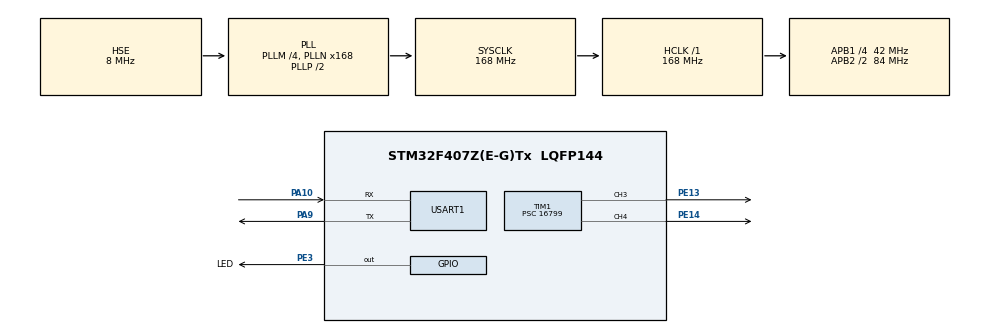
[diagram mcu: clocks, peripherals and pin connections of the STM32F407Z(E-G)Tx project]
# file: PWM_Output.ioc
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Dma.Request0=USART1_RX
Dma.Request1=USART1_TX
Dma.Request2=TIM1_CH3
Dma.Request3=TIM1_CH4/TRIG/COM
Dma.TIM1_CH3.2.Direction=DMA_PERIPH_TO_MEMORY
Dma.TIM1_CH3.2.FIFOMode=DMA_FIFOMODE_DISABLE
Dma.TIM1_CH3.2.Instance=DMA2_Stream6
Dma.TIM1_CH3.2.MemDataAlignment=DMA_MDATAALIGN_HALFWORD
Dma.TIM1_CH3.2.MemInc=DMA_MINC_ENABLE
Dma.TIM1_CH3.2.Mode=DMA_NORMAL
Dma.TIM1_CH3.2.PeriphDataAlignment=DMA_PDATAALIGN_HALFWORD
Dma.TIM1_CH3.2.PeriphInc=DMA_PINC_DISABLE
Dma.TIM1_CH3.2.Priority=DMA_PRIORITY_LOW
Dma.TIM1_CH4/TRIG/COM.3.Direction=DMA_PERIPH_TO_MEMORY
Dma.TIM1_CH4/TRIG/COM.3.FIFOMode=DMA_FIFOMODE_DISABLE
Dma.TIM1_CH4/TRIG/COM.3.Instance=DMA2_Stream4
Dma.TIM1_CH4/TRIG/COM.3.MemDataAlignment=DMA_MDATAALIGN_HALFWORD
Dma.TIM1_CH4/TRIG/COM.3.MemInc=DMA_MINC_ENABLE
Dma.TIM1_CH4/TRIG/COM.3.Mode=DMA_NORMAL
Dma.TIM1_CH4/TRIG/COM.3.PeriphDataAlignment=DMA_PDATAALIGN_HALFWORD
Dma.TIM1_CH4/TRIG/COM.3.PeriphInc=DMA_PINC_DISABLE
Dma.TIM1_CH4/TRIG/COM.3.Priority=DMA_PRIORITY_LOW
Dma.USART1_RX.0.Direction=DMA_PERIPH_TO_MEMORY
Dma.USART1_RX.0.FIFOMode=DMA_FIFOMODE_DISABLE
Dma.USART1_RX.0.Instance=DMA2_Stream5
Dma.USART1_RX.0.MemDataAlignment=DMA_MDATAALIGN_BYTE
Dma.USART1_RX.0.MemInc=DMA_MINC_ENABLE
Dma.USART1_RX.0.Mode=DMA_CIRCULAR
Dma.USART1_RX.0.PeriphDataAlignment=DMA_PDATAALIGN_BYTE
Dma.USART1_RX.0.PeriphInc=DMA_PINC_DISABLE
Dma.USART1_RX.0.Priority=DMA_PRIORITY_LOW
Dma.USART1_TX.1.Direction=DMA_MEMORY_TO_PERIPH
Dma.USART1_TX.1.FIFOMode=DMA_FIFOMODE_DISABLE
Dma.USART1_TX.1.Instance=DMA2_Stream7
Dma.USART1_TX.1.MemDataAlignment=DMA_MDATAALIGN_BYTE
Dma.USART1_TX.1.MemInc=DMA_MINC_ENABLE
Dma.USART1_TX.1.Mode=DMA_CIRCULAR
Dma.USART1_TX.1.PeriphDataAlignment=DMA_PDATAALIGN_BYTE
Dma.USART1_TX.1.PeriphInc=DMA_PINC_DISABLE
Dma.USART1_TX.1.Priority=DMA_PRIORITY_LOW
Mcu.Family=STM32F4
Mcu.Name=STM32F407Z(E-G)Tx
Mcu.Package=LQFP144
NVIC.DMA2_Stream4_IRQn=true\:0\:0\:false\:false\:true\:false\:true
NVIC.DMA2_Stream5_IRQn=true\:0\:0\:false\:false\:true\:false\:true
NVIC.DMA2_Stream6_IRQn=true\:0\:0\:false\:false\:true\:false\:true
NVIC.DMA2_Stream7_IRQn=true\:0\:0\:false\:false\:true\:false\:true
NVIC.PriorityGroup=NVIC_PRIORITYGROUP_4
NVIC.USART1_IRQn=true\:0\:0\:false\:false\:true\:true\:true
PA10.Mode=Asynchronous
PA10.Signal=USART1_RX
PA9.Mode=Asynchronous
PA9.Signal=USART1_TX
PE13.GPIO_Speed=GPIO_SPEED_FREQ_VERY_HIGH
PE13.Signal=S_TIM1_CH3
PE14.Signal=S_TIM1_CH4
PE3.GPIO_Label=LED
PE3.PinState=GPIO_PIN_SET
PE3.Signal=GPIO_Output
PH0-OSC_IN.Mode=HSE-External-Oscillator
PH0-OSC_IN.Signal=RCC_OSC_IN
PH1-OSC_OUT.Mode=HSE-External-Oscillator
PH1-OSC_OUT.Signal=RCC_OSC_OUT
ProjectManager.HeapSize=0x200
ProjectManager.StackSize=0x400
ProjectManager.TargetToolchain=MDK-ARM V5.27
RCC.48MHZClocksFreq_Value=84000000
RCC.AHBFreq_Value=168000000
RCC.APB1CLKDivider=RCC_HCLK_DIV4
RCC.APB1Freq_Value=42000000
RCC.APB1TimFreq_Value=84000000
RCC.APB2CLKDivider=RCC_HCLK_DIV2
RCC.APB2Freq_Value=84000000
RCC.APB2TimFreq_Value=168000000
RCC.CortexFreq_Value=168000000
RCC.HCLKFreq_Value=168000000
RCC.HSE_VALUE=8000000
RCC.HSI_VALUE=16000000
RCC.LSE_VALUE=32768
RCC.PLLM=4
RCC.PLLN=168
RCC.PLLSourceVirtual=RCC_PLLSOURCE_HSE
RCC.SYSCLKFreq_VALUE=168000000
RCC.SYSCLKSource=RCC_SYSCLKSOURCE_PLLCLK
RCC.VCOOutputFreq_Value=336000000
SH.S_TIM1_CH3.0=TIM1_CH3,PWM Generation3 CH3
SH.S_TIM1_CH4.0=TIM1_CH4,PWM Generation4 CH4
TIM1.Channel-PWM\ Generation3\ CH3=TIM_CHANNEL_3
TIM1.Channel-PWM\ Generation4\ CH4=TIM_CHANNEL_4
TIM1.OCMode_PWM-PWM\ Generation4\ CH4=TIM_OCMODE_PWM2
TIM1.Period=9999
TIM1.Prescaler=16799
USART1.VirtualMode=VM_ASYNC
VP_TIM1_VS_ClockSourceINT.Mode=Internal
board=custom

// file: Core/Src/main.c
/* USER CODE BEGIN Header */
/**
  ******************************************************************************
  * @file           : main.c
  * @brief          : Main program body
  ******************************************************************************
  * @attention
  *
  * <h2><center>&copy; Copyright (c) 2021 STMicroelectronics.
  * All rights reserved.</center></h2>
  *
  * This software component is licensed by ST under BSD 3-Clause license,
  * the "License"; You may not use this file except in compliance with the
  * License. You may obtain a copy of the License at:
  *                        opensource.org/licenses/BSD-3-Clause
  *
  ******************************************************************************
  */
/* USER CODE END Header */
#include "main.h"
#include "dma.h"
#include "tim.h"
#include "usart.h"
#include "gpio.h"

/* USER CODE BEGIN PV */
volatile uint8_t rx_len = 0;
volatile uint8_t recv_end_flag = 0;
uint8_t rx_buf[BUF_SIZE + 1];
/* USER CODE END PV */

void SystemClock_Config(void);

int main(void)
{
  /* USER CODE BEGIN 1 */
  uint32_t send_Buf = 2000;
  const uint32_t std_period = 9999;
  uint8_t temp[9] = {"Line=000,"};
  uint16_t period;
  /* USER CODE END 1 */

  /* MCU Configuration--------------------------------------------------------*/

  /* Reset of all peripherals, Initializes the Flash interface and the Systick. */
  HAL_Init();

  /* Configure the system clock */
  SystemClock_Config();

  /* Initialize all configured peripherals */
  MX_GPIO_Init();
  MX_DMA_Init();
  MX_USART1_UART_Init();
  MX_TIM1_Init();
  /* USER CODE BEGIN 2 */
  HAL_UART_Receive_DMA(&huart1,rx_buf,BUF_SIZE);
  HAL_TIM_PWM_Start_DMA(&htim1, TIM_CHANNEL_3,(uint32_t *) &send_Buf, 1);
  HAL_TIM_PWM_Start_DMA(&htim1, TIM_CHANNEL_4,(uint32_t *) &send_Buf, 1);

  //TIM1->CCR1=249;
  //TIM1->CCR2=249;

  /* USER CODE END 2 */

  /* Infinite loop */
  while (1)
  {

    /* USER CODE BEGIN 3 */
    if(recv_end_flag == 1)
    {
      if (rx_len == 2)
      {
        period = std_period / rx_buf[0];
        rx_buf[1] = rx_buf[1] > 101 ? 100 : rx_buf[1];
        send_Buf = period * rx_buf[1] / 100;
        __HAL_TIM_SET_AUTORELOAD(&htim1, period);
      }
      rx_len = 0;
      recv_end_flag = 0;
      for(uint8_t i=0; i <= rx_len; i++) { rx_buf[i]=0; }
    }

    //串口输出波形规则：100为高电平，000为低电平
    //若GPIOE_GPIO_PIN_13占空比为30%，则GPIOE_GPIO_PIN_14占空比为70%的
    //串口输入规则：连续两个8位的输入，第一个数为频率（Hz），第二个数为占空比（%）
    //temp[5] = HAL_GPIO_ReadPin(GPIOE, GPIO_PIN_13) + '0';
    //HAL_GPIO_WritePin(LED_GPIO_Port, LED_Pin, HAL_GPIO_ReadPin(GPIOE, GPIO_PIN_14));
    temp[5] = HAL_GPIO_ReadPin(GPIOE, GPIO_PIN_14) + '0';
    HAL_GPIO_WritePin(LED_GPIO_Port, LED_Pin, HAL_GPIO_ReadPin(GPIOE, GPIO_PIN_14));
    HAL_UART_Transmit(&huart1, temp, 9, 100);

    HAL_TIM_PWM_Start_DMA(&htim1, TIM_CHANNEL_3,(uint32_t *) &send_Buf, 1);
    HAL_TIM_PWM_Start_DMA(&htim1, TIM_CHANNEL_4,(uint32_t *) &send_Buf, 1);
    HAL_UART_Receive_DMA(&huart1, rx_buf, BUF_SIZE);

  }
  /* USER CODE END 3 */
}

void SystemClock_Config(void)
{
  RCC_OscInitTypeDef RCC_OscInitStruct = {0};
  RCC_ClkInitTypeDef RCC_ClkInitStruct = {0};

  /** Configure the main internal regulator output voltage
  */
  __HAL_RCC_PWR_CLK_ENABLE();
  __HAL_PWR_VOLTAGESCALING_CONFIG(PWR_REGULATOR_VOLTAGE_SCALE1);
  /** Initializes the RCC Oscillators according to the specified parameters
  * in the RCC_OscInitTypeDef structure.
  */
  RCC_OscInitStruct.OscillatorType = RCC_OSCILLATORTYPE_HSE;
  RCC_OscInitStruct.HSEState = RCC_HSE_ON;
  RCC_OscInitStruct.PLL.PLLState = RCC_PLL_ON;
  RCC_OscInitStruct.PLL.PLLSource = RCC_PLLSOURCE_HSE;
  RCC_OscInitStruct.PLL.PLLM = 4;
  RCC_OscInitStruct.PLL.PLLN = 168;
  RCC_OscInitStruct.PLL.PLLP = RCC_PLLP_DIV2;
  RCC_OscInitStruct.PLL.PLLQ = 4;
  if (HAL_RCC_OscConfig(&RCC_OscInitStruct) != HAL_OK)
  {
    Error_Handler();
  }
  /** Initializes the CPU, AHB and APB buses clocks
  */
  RCC_ClkInitStruct.ClockType = RCC_CLOCKTYPE_HCLK|RCC_CLOCKTYPE_SYSCLK
                              |RCC_CLOCKTYPE_PCLK1|RCC_CLOCKTYPE_PCLK2;
  RCC_ClkInitStruct.SYSCLKSource = RCC_SYSCLKSOURCE_PLLCLK;
  RCC_ClkInitStruct.AHBCLKDivider = RCC_SYSCLK_DIV1;
  RCC_ClkInitStruct.APB1CLKDivider = RCC_HCLK_DIV4;
  RCC_ClkInitStruct.APB2CLKDivider = RCC_HCLK_DIV2;

  if (HAL_RCC_ClockConfig(&RCC_ClkInitStruct, FLASH_LATENCY_5) != HAL_OK)
  {
    Error_Handler();
  }
}

/* USER CODE BEGIN 4 */
void HAL_TIM_PWM_PulseFinishedCallback(TIM_HandleTypeDef *htim)
{
  HAL_TIM_PWM_Stop_DMA(&htim1, TIM_CHANNEL_3);
  HAL_TIM_PWM_Stop_DMA(&htim1, TIM_CHANNEL_4);
}

/* USER CODE END 4 */

void Error_Handler(void)
{
  __disable_irq();
  while (1)
  {
  }
}

/************************ (C) COPYRIGHT STMicroelectronics *****END OF FILE****/
